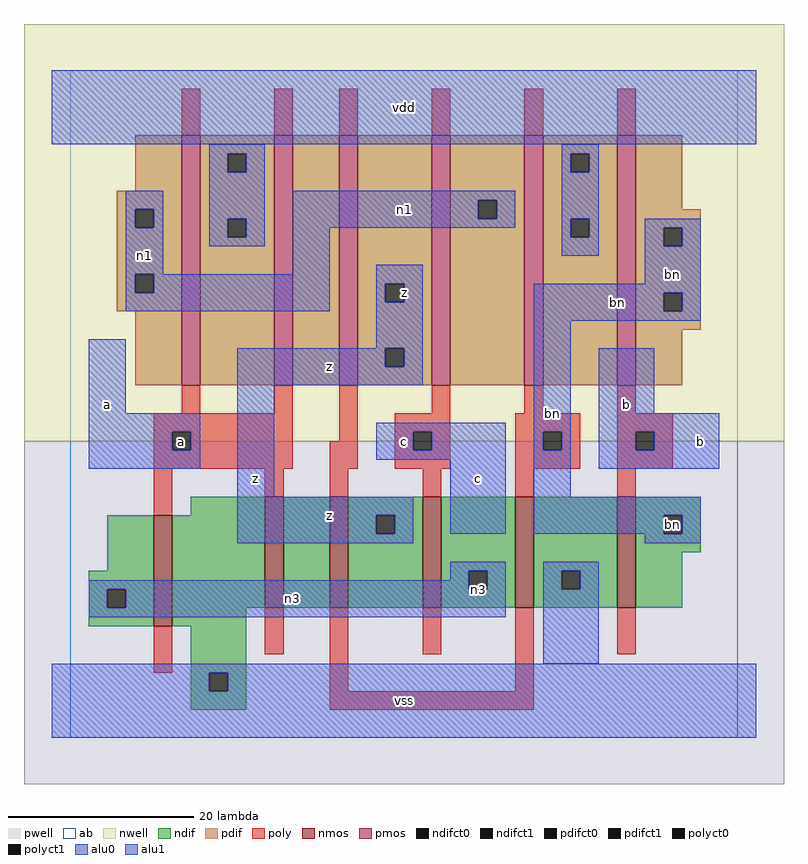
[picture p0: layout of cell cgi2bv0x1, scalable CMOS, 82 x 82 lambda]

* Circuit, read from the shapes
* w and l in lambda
.subckt cgi2bv0x1 a b bn c n1 n3 vdd vss z
M1 vss a n3 VSUBS nfet w=12 l=2
M2 n2 a vss VSUBS nfet w=12 l=2
M3 z bn n2 VSUBS nfet w=12 l=2
M4 n3 c z VSUBS nfet w=12 l=2
M5 vss bn n3 VSUBS nfet w=12 l=2
M6 bn b vss VSUBS nfet w=12 l=2
M7 vdd a n1 n4 pfet w=27 l=2
M8 n5 a vdd n4 pfet w=27 l=2
M9 z bn n5 n4 pfet w=27 l=2
M10 n1 c z n4 pfet w=27 l=2
M11 vdd bn n1 n4 pfet w=27 l=2
M12 bn b vdd n4 pfet w=27 l=2
.ends

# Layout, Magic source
magic
tech scmos
<< ab >>
rect 0 0 72 72
<< nwell >>
rect -5 32 77 77
<< pwell >>
rect -5 -5 77 32
<< poly >>
rect 12 65 14 70
rect 22 65 24 70
rect 29 65 31 70
rect 39 65 41 70
rect 49 65 51 70
rect 59 65 61 70
rect 12 35 14 38
rect 22 35 24 38
rect 9 33 24 35
rect 9 31 11 33
rect 13 31 24 33
rect 29 32 31 38
rect 39 35 41 38
rect 49 35 51 38
rect 59 35 61 38
rect 9 29 24 31
rect 28 29 31 32
rect 35 33 41 35
rect 35 31 37 33
rect 39 31 41 33
rect 35 29 41 31
rect 48 33 55 35
rect 48 31 51 33
rect 53 31 55 33
rect 48 29 55 31
rect 59 33 65 35
rect 59 31 61 33
rect 63 31 65 33
rect 59 29 65 31
rect 9 24 11 29
rect 21 26 23 29
rect 28 26 30 29
rect 38 26 40 29
rect 48 26 50 29
rect 59 26 61 29
rect 9 7 11 12
rect 21 9 23 14
rect 28 5 30 14
rect 38 9 40 14
rect 48 5 50 14
rect 59 9 61 14
rect 28 3 50 5
<< ndif >>
rect 13 24 21 26
rect 4 18 9 24
rect 2 16 9 18
rect 2 14 4 16
rect 6 14 9 16
rect 2 12 9 14
rect 11 14 21 24
rect 23 14 28 26
rect 30 24 38 26
rect 30 22 33 24
rect 35 22 38 24
rect 30 14 38 22
rect 40 18 48 26
rect 40 16 43 18
rect 45 16 48 18
rect 40 14 48 16
rect 50 18 59 26
rect 50 16 53 18
rect 55 16 59 18
rect 50 14 59 16
rect 61 24 68 26
rect 61 22 64 24
rect 66 22 68 24
rect 61 20 68 22
rect 61 14 66 20
rect 11 12 19 14
rect 13 7 19 12
rect 13 5 15 7
rect 17 5 19 7
rect 13 3 19 5
<< pdif >>
rect 7 59 12 65
rect 5 57 12 59
rect 5 55 7 57
rect 9 55 12 57
rect 5 50 12 55
rect 5 48 7 50
rect 9 48 12 50
rect 5 46 12 48
rect 7 38 12 46
rect 14 63 22 65
rect 14 61 17 63
rect 19 61 22 63
rect 14 56 22 61
rect 14 54 17 56
rect 19 54 22 56
rect 14 38 22 54
rect 24 38 29 65
rect 31 49 39 65
rect 31 47 34 49
rect 36 47 39 49
rect 31 42 39 47
rect 31 40 34 42
rect 36 40 39 42
rect 31 38 39 40
rect 41 58 49 65
rect 41 56 44 58
rect 46 56 49 58
rect 41 38 49 56
rect 51 63 59 65
rect 51 61 54 63
rect 56 61 59 63
rect 51 56 59 61
rect 51 54 54 56
rect 56 54 59 56
rect 51 38 59 54
rect 61 57 66 65
rect 61 55 68 57
rect 61 53 64 55
rect 66 53 68 55
rect 61 48 68 53
rect 61 46 64 48
rect 66 46 68 48
rect 61 44 68 46
rect 61 38 66 44
<< alu1 >>
rect -2 64 74 72
rect 33 49 38 51
rect 33 47 34 49
rect 36 47 38 49
rect 2 35 6 43
rect 33 42 38 47
rect 18 40 34 42
rect 36 40 38 42
rect 18 38 38 40
rect 2 33 14 35
rect 2 31 11 33
rect 13 31 14 33
rect 2 29 14 31
rect 18 26 22 38
rect 33 33 47 34
rect 33 31 37 33
rect 39 31 47 33
rect 33 30 47 31
rect 18 24 37 26
rect 18 22 33 24
rect 35 22 37 24
rect 41 22 47 30
rect 57 35 63 42
rect 57 33 70 35
rect 57 31 61 33
rect 63 31 70 33
rect 57 29 70 31
rect 18 21 37 22
rect -2 7 74 8
rect -2 5 15 7
rect 17 5 74 7
rect -2 0 74 5
<< nmos >>
rect 9 12 11 24
rect 21 14 23 26
rect 28 14 30 26
rect 38 14 40 26
rect 48 14 50 26
rect 59 14 61 26
<< pmos >>
rect 12 38 14 65
rect 22 38 24 65
rect 29 38 31 65
rect 39 38 41 65
rect 49 38 51 65
rect 59 38 61 65
<< polyct0 >>
rect 51 31 53 33
<< polyct1 >>
rect 11 31 13 33
rect 37 31 39 33
rect 61 31 63 33
<< ndifct0 >>
rect 4 14 6 16
rect 43 16 45 18
rect 53 16 55 18
rect 64 22 66 24
<< ndifct1 >>
rect 33 22 35 24
rect 15 5 17 7
<< pdifct0 >>
rect 7 55 9 57
rect 7 48 9 50
rect 17 61 19 63
rect 17 54 19 56
rect 44 56 46 58
rect 54 61 56 63
rect 54 54 56 56
rect 64 53 66 55
rect 64 46 66 48
<< pdifct1 >>
rect 34 47 36 49
rect 34 40 36 42
<< alu0 >>
rect 15 63 21 64
rect 15 61 17 63
rect 19 61 21 63
rect 6 57 10 59
rect 6 55 7 57
rect 9 55 10 57
rect 6 50 10 55
rect 15 56 21 61
rect 53 63 57 64
rect 53 61 54 63
rect 56 61 57 63
rect 15 54 17 56
rect 19 54 21 56
rect 15 53 21 54
rect 24 58 48 59
rect 24 56 44 58
rect 46 56 48 58
rect 24 55 48 56
rect 53 56 57 61
rect 24 50 28 55
rect 53 54 54 56
rect 56 54 57 56
rect 53 52 57 54
rect 62 55 68 56
rect 62 53 64 55
rect 66 53 68 55
rect 6 48 7 50
rect 9 48 28 50
rect 6 46 28 48
rect 62 49 68 53
rect 50 48 68 49
rect 50 46 64 48
rect 66 46 68 48
rect 50 45 68 46
rect 50 33 54 45
rect 50 31 51 33
rect 53 31 54 33
rect 50 26 54 31
rect 50 24 68 26
rect 50 22 64 24
rect 66 22 68 24
rect 62 21 68 22
rect 41 18 47 19
rect 41 17 43 18
rect 2 16 43 17
rect 45 16 47 18
rect 2 14 4 16
rect 6 14 47 16
rect 2 13 47 14
rect 51 18 57 19
rect 51 16 53 18
rect 55 16 57 18
rect 51 8 57 16
<< labels >>
rlabel alu0 8 52 8 52 6 n1
rlabel alu0 24 15 24 15 6 n3
rlabel alu0 44 16 44 16 6 n3
rlabel alu0 36 57 36 57 6 n1
rlabel ndifct0 65 23 65 23 6 bn
rlabel alu0 52 35 52 35 6 bn
rlabel alu0 59 47 59 47 6 bn
rlabel alu0 65 50 65 50 6 bn
rlabel polyct1 12 32 12 32 6 a
rlabel alu1 4 36 4 36 6 a
rlabel alu1 20 28 20 28 6 z
rlabel alu1 28 24 28 24 6 z
rlabel alu1 28 40 28 40 6 z
rlabel alu1 36 4 36 4 6 vss
rlabel alu1 36 32 36 32 6 c
rlabel alu1 44 28 44 28 6 c
rlabel alu1 36 48 36 48 6 z
rlabel alu1 36 68 36 68 6 vdd
rlabel alu1 68 32 68 32 6 b
rlabel alu1 60 36 60 36 6 b
<< end >>
